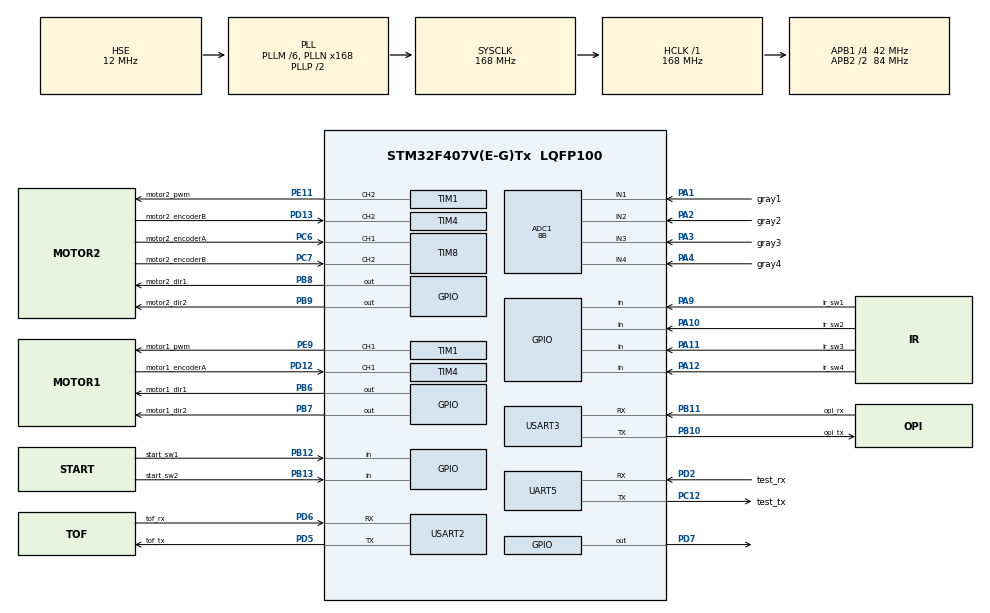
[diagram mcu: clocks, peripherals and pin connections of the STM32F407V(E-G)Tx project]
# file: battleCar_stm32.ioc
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ADC1.Channel-0\#ChannelRegularConversion=ADC_CHANNEL_1
ADC1.Channel-5\#ChannelRegularConversion=ADC_CHANNEL_2
ADC1.Channel-6\#ChannelRegularConversion=ADC_CHANNEL_3
ADC1.Channel-7\#ChannelRegularConversion=ADC_CHANNEL_4
ADC1.ClockPrescaler=ADC_CLOCK_SYNC_PCLK_DIV8
ADC1.ContinuousConvMode=ENABLE
ADC1.DMAContinuousRequests=ENABLE
ADC1.InjNumberOfConversion=0
ADC1.NbrOfConversion=4
ADC1.NbrOfConversionFlag=1
ADC1.Rank-0\#ChannelRegularConversion=1
ADC1.Rank-5\#ChannelRegularConversion=2
ADC1.Rank-6\#ChannelRegularConversion=3
ADC1.Rank-7\#ChannelRegularConversion=4
ADC1.Resolution=ADC_RESOLUTION_8B
ADC1.SamplingTime-0\#ChannelRegularConversion=ADC_SAMPLETIME_15CYCLES
ADC1.SamplingTime-5\#ChannelRegularConversion=ADC_SAMPLETIME_15CYCLES
ADC1.SamplingTime-6\#ChannelRegularConversion=ADC_SAMPLETIME_15CYCLES
ADC1.SamplingTime-7\#ChannelRegularConversion=ADC_SAMPLETIME_15CYCLES
ADC1.ScanConvMode=ENABLE
ADC1.master=1
Dma.ADC1.2.Direction=DMA_PERIPH_TO_MEMORY
Dma.ADC1.2.FIFOMode=DMA_FIFOMODE_DISABLE
Dma.ADC1.2.Instance=DMA2_Stream0
Dma.ADC1.2.MemDataAlignment=DMA_MDATAALIGN_HALFWORD
Dma.ADC1.2.MemInc=DMA_MINC_ENABLE
Dma.ADC1.2.Mode=DMA_CIRCULAR
Dma.ADC1.2.PeriphDataAlignment=DMA_PDATAALIGN_HALFWORD
Dma.ADC1.2.PeriphInc=DMA_PINC_DISABLE
Dma.ADC1.2.Priority=DMA_PRIORITY_LOW
Dma.Request0=USART3_RX
Dma.Request1=USART3_TX
Dma.Request2=ADC1
Dma.USART3_RX.0.Direction=DMA_PERIPH_TO_MEMORY
Dma.USART3_RX.0.FIFOMode=DMA_FIFOMODE_DISABLE
Dma.USART3_RX.0.Instance=DMA1_Stream1
Dma.USART3_RX.0.MemDataAlignment=DMA_MDATAALIGN_BYTE
Dma.USART3_RX.0.MemInc=DMA_MINC_ENABLE
Dma.USART3_RX.0.Mode=DMA_NORMAL
Dma.USART3_RX.0.PeriphDataAlignment=DMA_PDATAALIGN_BYTE
Dma.USART3_RX.0.PeriphInc=DMA_PINC_DISABLE
Dma.USART3_RX.0.Priority=DMA_PRIORITY_MEDIUM
Dma.USART3_TX.1.Direction=DMA_MEMORY_TO_PERIPH
Dma.USART3_TX.1.FIFOMode=DMA_FIFOMODE_DISABLE
Dma.USART3_TX.1.Instance=DMA1_Stream3
Dma.USART3_TX.1.MemDataAlignment=DMA_MDATAALIGN_BYTE
Dma.USART3_TX.1.MemInc=DMA_MINC_ENABLE
Dma.USART3_TX.1.Mode=DMA_NORMAL
Dma.USART3_TX.1.PeriphDataAlignment=DMA_PDATAALIGN_BYTE
Dma.USART3_TX.1.PeriphInc=DMA_PINC_DISABLE
Dma.USART3_TX.1.Priority=DMA_PRIORITY_MEDIUM
Mcu.Family=STM32F4
Mcu.Name=STM32F407V(E-G)Tx
Mcu.Package=LQFP100
NVIC.DMA1_Stream1_IRQn=true\:0\:0\:false\:false\:true\:false\:true\:true
NVIC.DMA1_Stream3_IRQn=true\:0\:0\:false\:false\:true\:false\:true\:true
NVIC.DMA2_Stream0_IRQn=true\:0\:0\:true\:false\:true\:false\:true\:true
NVIC.PriorityGroup=NVIC_PRIORITYGROUP_4
NVIC.TIM1_BRK_TIM9_IRQn=true\:0\:0\:false\:false\:true\:true\:true\:true
NVIC.USART3_IRQn=true\:1\:0\:true\:false\:true\:true\:true\:true
PA1.GPIO_Label=gray1
PA1.Signal=ADCx_IN1
PA10.GPIO_Label=ir_sw2
PA10.GPIO_PuPd=GPIO_PULLUP
PA10.Signal=GPIO_Input
PA11.GPIO_Label=ir_sw3
PA11.GPIO_PuPd=GPIO_PULLUP
PA11.Signal=GPIO_Input
PA12.GPIO_Label=ir_sw4
PA12.GPIO_PuPd=GPIO_PULLUP
PA12.Signal=GPIO_Input
PA13.Mode=JTAG_5_pins
PA13.Signal=SYS_JTMS-SWDIO
PA14.Mode=JTAG_5_pins
PA14.Signal=SYS_JTCK-SWCLK
PA15.Mode=JTAG_5_pins
PA15.Signal=SYS_JTDI
PA2.GPIO_Label=gray2
PA2.Signal=ADCx_IN2
PA3.GPIO_Label=gray3
PA3.Signal=ADCx_IN3
PA4.GPIO_Label=gray4
PA4.Signal=ADCx_IN4
PA9.GPIO_Label=ir_sw1
PA9.GPIO_PuPd=GPIO_PULLUP
PA9.Signal=GPIO_Input
PB10.GPIO_Label=opi_tx
PB10.Mode=Asynchronous
PB10.Signal=USART3_TX
PB11.GPIO_Label=opi_rx
PB11.Mode=Asynchronous
PB11.Signal=USART3_RX
PB12.GPIO_Label=start_sw1
PB12.Signal=GPIO_Input
PB13.GPIO_Label=start_sw2
PB13.Signal=GPIO_Input
PB3.Mode=JTAG_5_pins
PB3.Signal=SYS_JTDO-SWO
PB4.Mode=JTAG_5_pins
PB4.Signal=SYS_JTRST
PB6.GPIO_Label=motor1_dir1
PB6.Signal=GPIO_Output
PB7.GPIO_Label=motor1_dir2
PB7.Signal=GPIO_Output
PB8.GPIO_Label=motor2_dir1
PB8.Signal=GPIO_Output
PB9.GPIO_Label=motor2_dir2
PB9.Signal=GPIO_Output
PC12.GPIO_Label=test_tx
PC12.Mode=Asynchronous
PC12.Signal=UART5_TX
PC14-OSC32_IN.Mode=LSE-External-Oscillator
PC14-OSC32_IN.Signal=RCC_OSC32_IN
PC15-OSC32_OUT.Mode=LSE-External-Oscillator
PC15-OSC32_OUT.Signal=RCC_OSC32_OUT
PC6.GPIO_Label=motor2_encoderA
PC6.GPIO_PuPd=GPIO_PULLUP
PC6.Signal=S_TIM8_CH1
PC7.GPIO_Label=motor2_encoderB
PC7.GPIO_PuPd=GPIO_PULLUP
PC7.Signal=S_TIM8_CH2
PD12.GPIO_Label=motor1_encoderA
PD12.GPIO_PuPd=GPIO_PULLUP
PD12.Signal=S_TIM4_CH1
PD13.GPIO_Label=motor2_encoderB
PD13.GPIO_PuPd=GPIO_PULLUP
PD13.Signal=S_TIM4_CH2
PD2.GPIO_Label=test_rx
PD2.Mode=Asynchronous
PD2.Signal=UART5_RX
PD5.GPIO_Label=tof_tx
PD5.Mode=Asynchronous
PD5.Signal=USART2_TX
PD6.GPIO_Label=tof_rx
PD6.Mode=Asynchronous
PD6.Signal=USART2_RX
PD7.Signal=GPIO_Output
PE11.GPIO_Label=motor2_pwm
PE11.Signal=S_TIM1_CH2
PE9.GPIO_Label=motor1_pwm
PE9.Signal=S_TIM1_CH1
PH0-OSC_IN.Mode=HSE-External-Oscillator
PH0-OSC_IN.Signal=RCC_OSC_IN
PH1-OSC_OUT.Mode=HSE-External-Oscillator
PH1-OSC_OUT.Signal=RCC_OSC_OUT
ProjectManager.HeapSize=0x200
ProjectManager.StackSize=0x400
ProjectManager.TargetToolchain=MDK-ARM V5.32
RCC.48MHZClocksFreq_Value=84000000
RCC.AHBFreq_Value=168000000
RCC.APB1CLKDivider=RCC_HCLK_DIV4
RCC.APB1Freq_Value=42000000
RCC.APB1TimFreq_Value=84000000
RCC.APB2CLKDivider=RCC_HCLK_DIV2
RCC.APB2Freq_Value=84000000
RCC.APB2TimFreq_Value=168000000
RCC.CortexFreq_Value=168000000
RCC.HCLKFreq_Value=168000000
RCC.HSE_VALUE=12000000
RCC.HSI_VALUE=16000000
RCC.PLLM=6
RCC.PLLN=168
RCC.PLLSourceVirtual=RCC_PLLSOURCE_HSE
RCC.SYSCLKFreq_VALUE=168000000
RCC.SYSCLKSource=RCC_SYSCLKSOURCE_PLLCLK
RCC.VCOOutputFreq_Value=336000000
SH.ADCx_IN1.0=ADC1_IN1,IN1
SH.ADCx_IN2.0=ADC1_IN2,IN2
SH.ADCx_IN3.0=ADC1_IN3,IN3
SH.ADCx_IN4.0=ADC1_IN4,IN4
SH.S_TIM1_CH1.0=TIM1_CH1,PWM Generation1 CH1
SH.S_TIM1_CH2.0=TIM1_CH2,PWM Generation2 CH2
SH.S_TIM4_CH1.0=TIM4_CH1,Encoder_Interface
SH.S_TIM4_CH2.0=TIM4_CH2,Encoder_Interface
SH.S_TIM8_CH1.0=TIM8_CH1,Encoder_Interface
SH.S_TIM8_CH2.0=TIM8_CH2,Encoder_Interface
TIM1.Channel-PWM\ Generation1\ CH1=TIM_CHANNEL_1
TIM1.Channel-PWM\ Generation2\ CH2=TIM_CHANNEL_2
TIM1.Period=1000-1
TIM1.Prescaler=1680-1
TIM4.CounterMode=TIM_COUNTERMODE_UP
TIM4.EncoderMode=TIM_ENCODERMODE_TI12
TIM4.IC1Polarity=TIM_ICPOLARITY_RISING
TIM4.IC2Polarity=TIM_ICPOLARITY_RISING
TIM8.EncoderMode=TIM_ENCODERMODE_TI12
TIM8.IC1Polarity=TIM_ICPOLARITY_RISING
TIM8.IC2Polarity=TIM_ICPOLARITY_RISING
TIM9.Period=1000-1
TIM9.Prescaler=16800-1
UART5.VirtualMode=Asynchronous
USART2.VirtualMode=VM_ASYNC
USART3.VirtualMode=VM_ASYNC
VP_TIM1_VS_ClockSourceINT.Mode=Internal
VP_TIM9_VS_ClockSourceINT.Mode=Internal
board=custom

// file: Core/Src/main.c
/* USER CODE BEGIN Header */
/**
  ******************************************************************************
  * @file           : main.c
  * @brief          : Main program body
  ******************************************************************************
  * @attention
  *
  * Copyright (c) 2024 STMicroelectronics.
  * All rights reserved.
  *
  * This software is licensed under terms that can be found in the LICENSE file
  * in the root directory of this software component.
  * If no LICENSE file comes with this software, it is provided AS-IS.
  *
  ******************************************************************************
  */
/* USER CODE END Header */
#include "main.h"
#include "adc.h"
#include "dma.h"
#include "tim.h"
#include "usart.h"
#include "gpio.h"

/* USER CODE BEGIN Includes */
#include "stm32f4xx_hal.h"
#include "stm32f4xx_hal_adc.h"
#include "stm32f4xx_hal_adc_ex.h"
#include <stdio.h>

#define KP 0.5f
#define KI 1.0f
#define KD 0.5f

#define dt 10 //ms, compute speed  period

//sum error max value
#define SUM_ERR_MAX 10000
//pwm max value
#define PWM_MAX 10000
#define PKG_HEADh 0xFF
#define PKG_HEADl 0x55//head 0xFF55
#define PKG_TAIL 0xC3
/* USER CODE END Includes */

/* USER CODE BEGIN PTD */
//PID struct
typedef struct _PID
{
  int   SetPoint;
  int   Actual;
  int   Err;
  int   LastErr;
  int   SumErr;
	int   Output;
}PID;
/* USER CODE END PTD */

/* USER CODE BEGIN PV */

//actual speed
short speedL=0;
short speedR=0;
//target speed
short speedL_set=0;
short speedR_set=0;
uint16_t speedL_abs=0;
uint16_t speedR_abs=0;

PID pidL;
PID pidR;
uint8_t sw=0;
uint16_t gray[4]={0};
uint8_t RxBuffer[15];  // 用于接收数据的缓冲区

short encoder_countL=0;
short encoder_countR=0;

/* USER CODE END PV */

void SystemClock_Config(void);

/* USER CODE BEGIN 0 */

//compute PID output
int PID_Compute(PID *pid)
{
  pid->Err = pid->SetPoint - pid->Actual;
  pid->SumErr += pid->Err;
  //sum error limiting
  if(pid->SumErr > SUM_ERR_MAX)
  {
    pid->SumErr = SUM_ERR_MAX;
  }
  else if(pid->SumErr < -SUM_ERR_MAX)
  {
    pid->SumErr = -SUM_ERR_MAX;
  }
  pid->Output = (0.375 * pid->Err + 0.0075 * pid->SumErr + 0.1* (pid->Err - pid->LastErr) );
  //amplitude limiting
  if(pid->Output > PWM_MAX)
  {
    pid->Output = PWM_MAX;
  }
  else if(pid->Output < -PWM_MAX)
  {
    pid->Output = -PWM_MAX;
  }
  pid->LastErr = pid->Err;
  return pid->Output;
}

// control speed and dir of L and R motor
void Motor_Open_Control(void)
{
	//speed abs value
  speedL_abs = abs(speedL_set);
  speedR_abs = abs(speedR_set);
  //set pwm
  htim1.Instance->CCR1 = speedL_abs;
  htim1.Instance->CCR2 = speedR_abs;

	//dir control
  if(speedL_set < 0)
  {
    // 0 1
    HAL_GPIO_WritePin(GPIOB, motor1_dir1_Pin, GPIO_PIN_SET);
    HAL_GPIO_WritePin(GPIOB, motor1_dir2_Pin, GPIO_PIN_RESET);
  }
  else if(speedL_set > 0)
  {
    //1 0
    HAL_GPIO_WritePin(GPIOB, motor1_dir1_Pin, GPIO_PIN_RESET);
    HAL_GPIO_WritePin(GPIOB, motor1_dir2_Pin, GPIO_PIN_SET);
  }
	else
  {
    //0 0
    HAL_GPIO_WritePin(GPIOB, motor1_dir1_Pin, GPIO_PIN_RESET);
    HAL_GPIO_WritePin(GPIOB, motor1_dir2_Pin, GPIO_PIN_RESET);
  }

  if(speedR_set < 0)
  {
    // 0 1
    HAL_GPIO_WritePin(GPIOB, motor2_dir1_Pin, GPIO_PIN_RESET);
    HAL_GPIO_WritePin(GPIOB, motor2_dir2_Pin, GPIO_PIN_SET);
  }
  else if(speedR_set > 0)
  {
    //1 0
    HAL_GPIO_WritePin(GPIOB, motor2_dir1_Pin, GPIO_PIN_SET);
    HAL_GPIO_WritePin(GPIOB, motor2_dir2_Pin, GPIO_PIN_RESET);
  }
	else
  {
    //0 0
    HAL_GPIO_WritePin(GPIOB, motor2_dir1_Pin, GPIO_PIN_RESET);
    HAL_GPIO_WritePin(GPIOB, motor2_dir2_Pin, GPIO_PIN_RESET);
  }

}
int Motor_Control(void)
{

  //HAL_Delay(10);

  //speed control
  //compute PID output
  pidL.SetPoint = speedL_set;
  pidL.Actual = speedL;
  pidR.SetPoint = speedR_set;
  pidR.Actual = speedR;
  pidL.Output = PID_Compute(&pidL);
  pidR.Output = PID_Compute(&pidR);

  //speed abs value
  speedL_abs = abs(pidL.Output);
  speedR_abs = abs(pidR.Output);
  //set pwm
  htim1.Instance->CCR1 = speedL_abs;
  htim1.Instance->CCR2 = speedR_abs;

  //dir control
	if(speedL_set==0 ){
			HAL_GPIO_WritePin(GPIOB, motor1_dir1_Pin, GPIO_PIN_RESET);
			HAL_GPIO_WritePin(GPIOB, motor1_dir2_Pin, GPIO_PIN_RESET);
			pidL.SumErr = 0;
		}
	else{
  if(pidL.Output < 0)
  {
    // 0 1
    HAL_GPIO_WritePin(GPIOB, motor1_dir1_Pin, GPIO_PIN_SET);
    HAL_GPIO_WritePin(GPIOB, motor1_dir2_Pin, GPIO_PIN_RESET);
  }
  else if(pidL.Output > 0)
  {
    //1 0
    HAL_GPIO_WritePin(GPIOB, motor1_dir1_Pin, GPIO_PIN_RESET);
    HAL_GPIO_WritePin(GPIOB, motor1_dir2_Pin, GPIO_PIN_SET);
  }
	else
  {
    //0 0
    HAL_GPIO_WritePin(GPIOB, motor1_dir1_Pin, GPIO_PIN_RESET);
    HAL_GPIO_WritePin(GPIOB, motor1_dir2_Pin, GPIO_PIN_RESET);
  }
}
	if(speedR_set==0)
	{
			HAL_GPIO_WritePin(GPIOB, motor2_dir1_Pin, GPIO_PIN_RESET);
			HAL_GPIO_WritePin(GPIOB, motor2_dir2_Pin, GPIO_PIN_RESET);
			pidR.SumErr = 0;
	}
	else{
  if(pidR.Output < 0)
  {
    // 0 1
    HAL_GPIO_WritePin(GPIOB, motor2_dir1_Pin, GPIO_PIN_RESET);
    HAL_GPIO_WritePin(GPIOB, motor2_dir2_Pin, GPIO_PIN_SET);
  }
  else if(pidR.Output > 0)
  {
    //1 0
    HAL_GPIO_WritePin(GPIOB, motor2_dir1_Pin, GPIO_PIN_SET);
    HAL_GPIO_WritePin(GPIOB, motor2_dir2_Pin, GPIO_PIN_RESET);
  }
	else
  {
    //0 0
    HAL_GPIO_WritePin(GPIOB, motor2_dir1_Pin, GPIO_PIN_RESET);
    HAL_GPIO_WritePin(GPIOB, motor2_dir2_Pin, GPIO_PIN_RESET);
	}
	}
	return 0;
}

//send pkg=[PKG_HEADh,PKG_HEADl,sw,gray[0],gray[1],gray[2],gray[3],PKG_TAIL] 8bit*8 trough UART3
uint8_t tx_pkg(void)
{
	uint8_t pkg[8]={PKG_HEADh,PKG_HEADl,sw,gray[0],gray[1],gray[2],gray[3],PKG_TAIL};
	HAL_UART_Transmit(&huart3, pkg, 8,10);
	return 0;
}

//send motor speed and tar speed data to uart5
//PKG_HEADh,PKG_HEADl,speedL,speedR,speedL_set,speedR_set,PKG_TAIL
void tx_speed(void)
{
  uint8_t pkg[7]={PKG_HEADh,PKG_HEADl,speedL,speedR,speedL_set,speedR_set,PKG_TAIL};
  HAL_UART_Transmit(&huart5, pkg, 7,10);
}

//print all sensor data and motor speed data to uart5
void print_data(void)
{
	printf("sw:%d\n" ,sw);
  printf("start_sw1:%d  start_sw2:%d\n",sw & 0x10 ? 1 : 0,sw & 0x20 ? 1 : 0);
  for(int i=0;i<4;i++)
  {
    printf("ir_sw[%d]:%d  ",i+1,sw & (1<<i) ? 1 : 0);
  }
	printf("\n");
  for(int i=0;i<4;i++)
  {
    printf("gray[%d]:%d  ",i,gray[i]);
  }

  printf("\nspeedL:%d  speedR:%d  speedL_set:%d  speedR_set:%d\n",speedL,speedR,speedL_set,speedR_set);
}

//update sensor data here: gray[4](uint16 adc value) and sw(8bit switch value bit[0:3]:ir_sw1~4, bit[4:5]:start_sw1~2, bit[6:7]:0)
void update_sensor(void)
{
  //gray sensor data has been updated in DMA
  //update switch data
  sw =  HAL_GPIO_ReadPin(GPIOA, ir_sw1_Pin)      | HAL_GPIO_ReadPin(GPIOA, ir_sw2_Pin) << 1    | HAL_GPIO_ReadPin(GPIOA, ir_sw3_Pin) << 2 |
        HAL_GPIO_ReadPin(GPIOA, ir_sw4_Pin) << 3 | HAL_GPIO_ReadPin(GPIOB, start_sw1_Pin) << 4 | HAL_GPIO_ReadPin(GPIOB, start_sw2_Pin) << 5;
}

//recieve speed data here
void HAL_UART_RxCpltCallback(UART_HandleTypeDef *huart)
{
  if (huart->Instance == USART3)
  {

    //get latest pkg from RxBuffer
    //revPkg= PKG_HEADh(8bit), PKG_HEADl(8bit), speedL_set(16bit short), speedR_set(16bit short), PKG_TAIL(8bit),length=7*8=40bit
    for(int i=0;i<7;i++)
    {
      if(RxBuffer[i] == PKG_HEADh && RxBuffer[i+1] == PKG_HEADl&& RxBuffer[i+6] == PKG_TAIL)
      {
        //get speedL_set
        speedL_set = -((RxBuffer[i+2] << 8) | RxBuffer[i+3]);
        //get speedR_set
        speedR_set = (RxBuffer[i+4] << 8) | RxBuffer[i+5];
				Motor_Control();
				update_sensor();
				tx_pkg();
        break;
      }
    }
    // restart receive
    HAL_UART_Receive_IT(&huart3, RxBuffer, 7);
  }
}

//update actual speed here
void HAL_TIM_PeriodElapsedCallback(TIM_HandleTypeDef *htim)
{
    if (htim->Instance == TIM9)
    {
				encoder_countL =(short)( __HAL_TIM_GET_COUNTER(&htim4));
        encoder_countR =(short)( __HAL_TIM_GET_COUNTER(&htim8));
				//compute speed, round/min , reduction ratio:60 , 16pulse/round
        speedL = encoder_countL ;
        speedR = encoder_countR ;
				__HAL_TIM_SET_COUNTER(&htim4, 0);
        __HAL_TIM_SET_COUNTER(&htim8, 0);
//				printf("speedL:%d \n",speedL);
//        printf("speedR:%d \n",speedR);
    }
}

/* USER CODE END 0 */

int main(void)
{

  /* MCU Configuration--------------------------------------------------------*/

  /* Reset of all peripherals, Initializes the Flash interface and the Systick. */
  HAL_Init();

  /* Configure the system clock */
  SystemClock_Config();

  /* Initialize all configured peripherals */
  MX_GPIO_Init();
  MX_DMA_Init();
  MX_ADC1_Init();
  MX_TIM1_Init();
  MX_TIM4_Init();
  MX_TIM8_Init();
  MX_UART5_Init();
  MX_USART2_UART_Init();
  MX_USART3_UART_Init();
  MX_TIM9_Init();
  /* USER CODE BEGIN 2 */
	HAL_UART_Receive_IT(&huart3, RxBuffer, 7);
	HAL_TIM_Base_Start_IT(&htim9);
	HAL_TIM_Encoder_Start(&htim4, TIM_CHANNEL_ALL);
	HAL_TIM_Encoder_Start(&htim8, TIM_CHANNEL_ALL);

  HAL_TIM_PWM_Start(&htim1,TIM_CHANNEL_1);
  HAL_TIM_PWM_Start(&htim1,TIM_CHANNEL_2);
	HAL_GPIO_WritePin(GPIOB, motor1_dir1_Pin, GPIO_PIN_RESET);
  HAL_GPIO_WritePin(GPIOB, motor1_dir2_Pin, GPIO_PIN_RESET);
	HAL_GPIO_WritePin(GPIOB, motor2_dir1_Pin, GPIO_PIN_RESET);
  HAL_GPIO_WritePin(GPIOB, motor2_dir2_Pin, GPIO_PIN_RESET);
  /* USER CODE END 2 */

  /* Infinite loop */
  /* USER CODE BEGIN WHILE */
  HAL_ADC_Start_DMA(&hadc1,(uint32_t*)gray,4);
  //uint8_t msg[]="114514";
	//	uint8_t tx_msg[]="i am stm32f4\n";
	//	uint8_t rx_msg[64];
	while (1)
	 {
		 /*
			speedL_set=30;
		 speedR_set = 30;
			Motor_Control();
		 HAL_Delay(5000);
		 speedL_set=0;
		 speedR_set = 0;
		 Motor_Control();
		 HAL_Delay(5000);
		 speedL_set=-30;
		 speedR_set = -30;
			Motor_Control();
		 HAL_Delay(5000);
		 */

		 HAL_Delay(50);

		  //print_data();
		 //HAL_UART_Transmit(&huart3,msg,sizeof(msg),100);
    /* USER CODE END WHILE */

	}
}

void SystemClock_Config(void)
{
  RCC_OscInitTypeDef RCC_OscInitStruct = {0};
  RCC_ClkInitTypeDef RCC_ClkInitStruct = {0};

  /** Configure the main internal regulator output voltage
  */
  __HAL_RCC_PWR_CLK_ENABLE();
  __HAL_PWR_VOLTAGESCALING_CONFIG(PWR_REGULATOR_VOLTAGE_SCALE1);

  /** Initializes the RCC Oscillators according to the specified parameters
  * in the RCC_OscInitTypeDef structure.
  */
  RCC_OscInitStruct.OscillatorType = RCC_OSCILLATORTYPE_HSE;
  RCC_OscInitStruct.HSEState = RCC_HSE_ON;
  RCC_OscInitStruct.PLL.PLLState = RCC_PLL_ON;
  RCC_OscInitStruct.PLL.PLLSource = RCC_PLLSOURCE_HSE;
  RCC_OscInitStruct.PLL.PLLM = 6;
  RCC_OscInitStruct.PLL.PLLN = 168;
  RCC_OscInitStruct.PLL.PLLP = RCC_PLLP_DIV2;
  RCC_OscInitStruct.PLL.PLLQ = 4;
  if (HAL_RCC_OscConfig(&RCC_OscInitStruct) != HAL_OK)
  {
    Error_Handler();
  }

  /** Initializes the CPU, AHB and APB buses clocks
  */
  RCC_ClkInitStruct.ClockType = RCC_CLOCKTYPE_HCLK|RCC_CLOCKTYPE_SYSCLK
                              |RCC_CLOCKTYPE_PCLK1|RCC_CLOCKTYPE_PCLK2;
  RCC_ClkInitStruct.SYSCLKSource = RCC_SYSCLKSOURCE_PLLCLK;
  RCC_ClkInitStruct.AHBCLKDivider = RCC_SYSCLK_DIV1;
  RCC_ClkInitStruct.APB1CLKDivider = RCC_HCLK_DIV4;
  RCC_ClkInitStruct.APB2CLKDivider = RCC_HCLK_DIV2;

  if (HAL_RCC_ClockConfig(&RCC_ClkInitStruct, FLASH_LATENCY_5) != HAL_OK)
  {
    Error_Handler();
  }
}

/* USER CODE BEGIN 4 */
int fputc(int ch, FILE *f)
{
    HAL_UART_Transmit(&huart5, (uint8_t *)&ch, 1,0xffff);
    return ch;
}
/* USER CODE END 4 */

void Error_Handler(void)
{
  __disable_irq();
  while (1)
  {
  }
}
